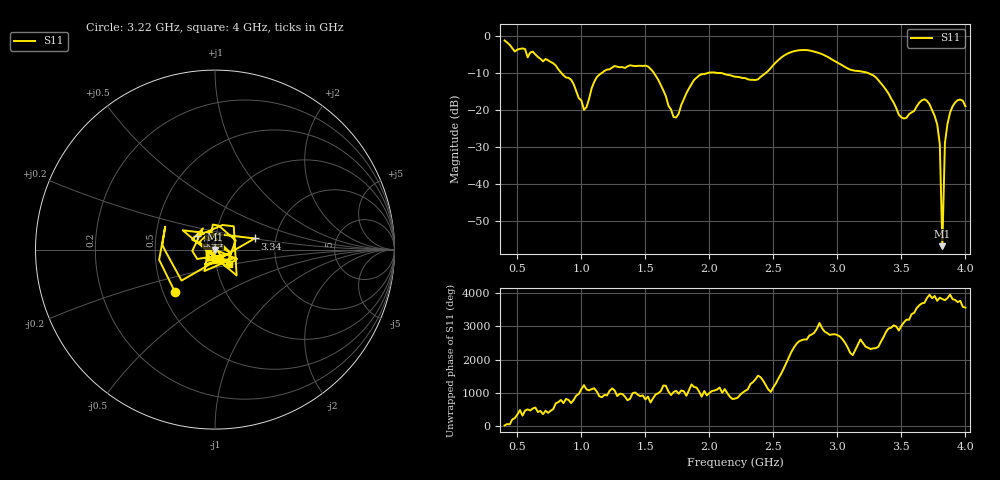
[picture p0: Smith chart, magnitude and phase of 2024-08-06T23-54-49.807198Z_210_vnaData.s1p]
!Created with skrf (http://scikit-rf.org).
# Hz S RI R 50.0
!freq ReS11 ImS11
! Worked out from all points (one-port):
!   181 points, 400 MHz to 4 GHz, reference 50 ohm
!   lowest |S11| = -56.8 dB at 3.82 GHz (marker M1), VSWR 1.00, Z = 49.9 - j0.0729 ohm
!   |S11| at or under -10 dB: 1.567 GHz to 1.986 GHz (419.2 MHz wide, 23.6 % of centre); 2.09 GHz to 2.44 GHz (350.2 MHz wide, 15.5 % of centre); 3.24 GHz to end of sweep (the widest 3 of 4)
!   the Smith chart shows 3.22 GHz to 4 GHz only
!   S11 on the Smith chart (normalised r, x): 3.22 GHz: 0.58, -0.30; 3.34 GHz: 1.55, +0.20; 3.44 GHz: 0.81, +0.12; 4 GHz: 1.16, -0.19
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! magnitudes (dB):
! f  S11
! 400 MHz  -1.2
! 860 MHz  -10.6
! 920 MHz  -11.8
! 1.02 GHz  -19.9
! 1.12 GHz  -11.1
! 1.3 GHz  -8.4
! 1.52 GHz  -8.2
! 1.6 GHz  -11.8
! 1.72 GHz  -21.9
! 1.76 GHz  -21.0
! 1.92 GHz  -10.6
! 2.2 GHz  -11.0
! 2.38 GHz  -11.7
! 2.66 GHz  -4.1
! 3.1 GHz  -9.1
! 3.22 GHz  -9.8
! 3.34 GHz  -12.8
! 3.44 GHz  -18.0
! 3.5 GHz  -22.0
! 3.56 GHz  -21.1
! 3.68 GHz  -17.1
! 3.78 GHz  -23.9
! 3.8 GHz  -29.2
! 3.82 GHz  -56.8
! 3.84 GHz  -28.9
! 3.86 GHz  -23.8
! 3.92 GHz  -17.9
! 4 GHz  -19.0
